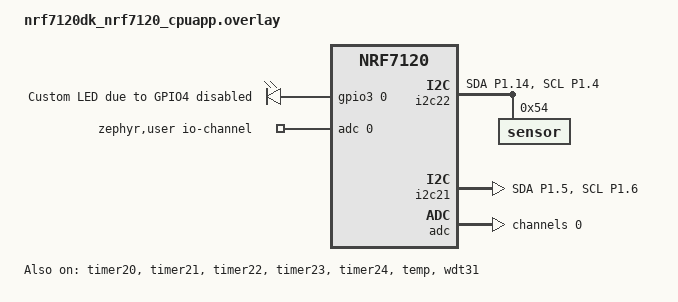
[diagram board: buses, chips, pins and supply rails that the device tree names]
/*
 * Copyright (c) 2026 Nordic Semiconductor ASA
 *
 * SPDX-License-Identifier: LicenseRef-Nordic-5-Clause
 */

/*
 * Required loopbacks:
 * P1.05 - P1.14
 * P1.06 - P1.04
 */

/ {
	aliases {
		test-gpio = &led_custom0;
		watchdog0 = &wdt31;
		/delete-property/ pwm_led1;
	};

	leds {
		led_custom0: led_custom0 {
			gpios = <&gpio3 0 GPIO_ACTIVE_HIGH>;
			label = "Custom LED due to GPIO4 disabled";
		};
	};

	zephyr,user {
		io-channels = <&adc 0>;
	};
};

&pinctrl {
	i2c22_default_alt: i2c22_default_alt {
		group1 {
			psels = <NRF_PSEL(TWIM_SDA, 1, 14)>,
				<NRF_PSEL(TWIM_SCL, 1, 4)>;
		};
	};

	i2c22_sleep_alt: i2c22_sleep_alt {
		group1 {
			psels = <NRF_PSEL(TWIM_SDA, 1, 14)>,
				<NRF_PSEL(TWIM_SCL, 1, 4)>;
			low-power-enable;
		};
	};

	i2c21_default_alt: i2c21_default_alt {
		group1 {
			psels = <NRF_PSEL(TWIS_SDA, 1, 5)>,
				<NRF_PSEL(TWIS_SCL, 1, 6)>;
			bias-pull-up;
		};
	};

	i2c21_sleep_alt: i2c21_sleep_alt {
		group1 {
			psels = <NRF_PSEL(TWIS_SDA, 1, 5)>,
				<NRF_PSEL(TWIS_SCL, 1, 6)>;
			low-power-enable;
		};
	};
};

dut_twim: &i2c22 {
	compatible = "nordic,nrf-twim";
	status = "okay";
	pinctrl-0 = <&i2c22_default_alt>;
	pinctrl-1 = <&i2c22_sleep_alt>;
	pinctrl-names = "default", "sleep";

	sensor: sensor@54 {
		reg = <0x54>;
	};
};

dut_twis: &i2c21 {
	compatible = "nordic,nrf-twis";
	status = "okay";
	pinctrl-0 = <&i2c21_default_alt>;
	pinctrl-1 = <&i2c21_sleep_alt>;
	pinctrl-names = "default", "sleep";
};

&adc {
	#address-cells = <1>;
	#size-cells = <0>;
	status = "okay";

	channel@0 {
		reg = <0>;
		zephyr,gain = "ADC_GAIN_1";
		zephyr,reference = "ADC_REF_INTERNAL";
		zephyr,acquisition-time = <ADC_ACQ_TIME(ADC_ACQ_TIME_MICROSECONDS, 10)>;
		zephyr,input-positive = <NRF_SAADC_AIN1>;
		zephyr,resolution = <10>;
	};
};

&timer20 {
	status = "okay";
};

&timer21 {
	status = "okay";
};

&timer22 {
	status = "okay";
};

&timer23 {
	status = "okay";
};

&timer24 {
	status = "okay";
};

temp_sensor: &temp {
	status = "okay";
};

&gpio1 {
	status = "okay";
};

&wdt31 {
	status = "okay";
};

&gpio4 {
	status = "disabled";
};
